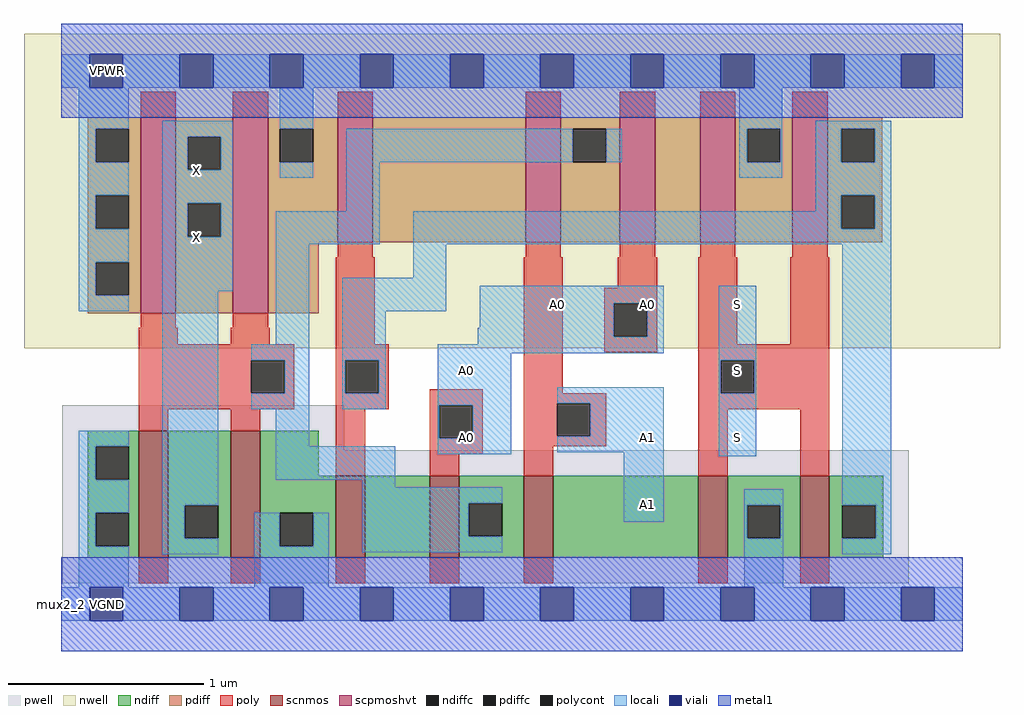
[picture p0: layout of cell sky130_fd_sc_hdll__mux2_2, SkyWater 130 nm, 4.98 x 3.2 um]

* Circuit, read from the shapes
.subckt sky130_fd_sc_hdll__mux2_2 A0 A1 S VGND VNB VPB VPWR X
XM1 X n1 VGND VNB sky130_fd_pr__nfet_01v8 w=0.65 l=0.15 m=2
XM2 n2 n3 VGND VNB sky130_fd_pr__nfet_01v8 w=0.42 l=0.15
XM3 n1 A0 n2 VNB sky130_fd_pr__nfet_01v8 w=0.42 l=0.15
XM4 n4 A1 n1 VNB sky130_fd_pr__nfet_01v8 w=0.42 l=0.15
XM5 VGND S n4 VNB sky130_fd_pr__nfet_01v8 w=0.42 l=0.15
XM6 n3 S VGND VNB sky130_fd_pr__nfet_01v8 w=0.42 l=0.15
XM7 X n1 VPWR VPB sky130_fd_pr__pfet_01v8_hvt w=1 l=0.18 m=2
XM8 n5 n3 VPWR VPB sky130_fd_pr__pfet_01v8_hvt w=0.64 l=0.18
XM9 n1 A1 n5 VPB sky130_fd_pr__pfet_01v8_hvt w=0.64 l=0.18
XM10 n6 A0 n1 VPB sky130_fd_pr__pfet_01v8_hvt w=0.64 l=0.18
XM11 VPWR S n6 VPB sky130_fd_pr__pfet_01v8_hvt w=0.64 l=0.18
XM12 n3 S VPWR VPB sky130_fd_pr__pfet_01v8_hvt w=0.64 l=0.18
.ends

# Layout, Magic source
magic
tech sky130A
magscale 1 2
<< nwell >>
rect -38 261 958 582
<< pwell >>
rect 1 157 289 203
rect 1 21 865 157
rect 30 -17 64 21
<< scnmos >>
rect 79 47 109 177
rect 173 47 203 177
rect 280 47 310 131
rect 376 47 406 131
rect 472 47 502 131
rect 650 47 680 131
rect 754 47 784 131
<< scpmoshvt >>
rect 81 297 117 497
rect 175 297 211 497
rect 282 369 318 497
rect 474 369 510 497
rect 570 369 606 497
rect 652 369 688 497
rect 746 369 782 497
<< ndiff >>
rect 27 161 79 177
rect 27 127 35 161
rect 69 127 79 161
rect 27 93 79 127
rect 27 59 35 93
rect 69 59 79 93
rect 27 47 79 59
rect 109 101 173 177
rect 109 67 126 101
rect 160 67 173 101
rect 109 47 173 67
rect 203 131 263 177
rect 203 93 280 131
rect 203 59 223 93
rect 257 59 280 93
rect 203 47 280 59
rect 310 47 376 131
rect 406 103 472 131
rect 406 69 416 103
rect 450 69 472 103
rect 406 47 472 69
rect 502 47 650 131
rect 680 101 754 131
rect 680 67 700 101
rect 734 67 754 101
rect 680 47 754 67
rect 784 101 839 131
rect 784 67 797 101
rect 831 67 839 101
rect 784 47 839 67
<< pdiff >>
rect 27 485 81 497
rect 27 451 35 485
rect 69 451 81 485
rect 27 417 81 451
rect 27 383 35 417
rect 69 383 81 417
rect 27 349 81 383
rect 27 315 35 349
rect 69 315 81 349
rect 27 297 81 315
rect 117 477 175 497
rect 117 443 129 477
rect 163 443 175 477
rect 117 409 175 443
rect 117 375 129 409
rect 163 375 175 409
rect 117 297 175 375
rect 211 485 282 497
rect 211 451 223 485
rect 257 451 282 485
rect 211 369 282 451
rect 318 369 474 497
rect 510 485 570 497
rect 510 451 522 485
rect 556 451 570 485
rect 510 369 570 451
rect 606 369 652 497
rect 688 485 746 497
rect 688 451 700 485
rect 734 451 746 485
rect 688 369 746 451
rect 782 485 838 497
rect 782 451 796 485
rect 830 451 838 485
rect 782 417 838 451
rect 782 383 796 417
rect 830 383 838 417
rect 782 369 838 383
rect 211 297 263 369
<< ndiffc >>
rect 35 127 69 161
rect 35 59 69 93
rect 126 67 160 101
rect 223 59 257 93
rect 416 69 450 103
rect 700 67 734 101
rect 797 67 831 101
<< pdiffc >>
rect 35 451 69 485
rect 35 383 69 417
rect 35 315 69 349
rect 129 443 163 477
rect 129 375 163 409
rect 223 451 257 485
rect 522 451 556 485
rect 700 451 734 485
rect 796 451 830 485
rect 796 383 830 417
<< poly >>
rect 81 497 117 523
rect 175 497 211 523
rect 282 497 318 523
rect 474 497 510 523
rect 570 497 606 523
rect 652 497 688 523
rect 746 497 782 523
rect 282 354 318 369
rect 474 354 510 369
rect 570 354 606 369
rect 652 354 688 369
rect 746 354 782 369
rect 81 282 117 297
rect 175 282 211 297
rect 79 265 119 282
rect 173 265 213 282
rect 280 265 320 354
rect 79 249 238 265
rect 79 215 194 249
rect 228 215 238 249
rect 79 199 238 215
rect 280 249 334 265
rect 280 215 290 249
rect 324 215 334 249
rect 280 199 334 215
rect 376 203 430 219
rect 79 177 109 199
rect 173 177 203 199
rect 280 131 310 199
rect 376 169 386 203
rect 420 169 430 203
rect 376 153 430 169
rect 472 215 512 354
rect 568 323 608 354
rect 554 307 608 323
rect 554 273 564 307
rect 598 273 608 307
rect 554 257 608 273
rect 650 265 690 354
rect 744 265 784 354
rect 650 249 784 265
rect 650 215 673 249
rect 707 215 784 249
rect 472 205 556 215
rect 472 171 506 205
rect 540 171 556 205
rect 472 161 556 171
rect 650 199 784 215
rect 376 131 406 153
rect 472 131 502 161
rect 650 131 680 199
rect 754 131 784 199
rect 79 21 109 47
rect 173 21 203 47
rect 280 21 310 47
rect 376 21 406 47
rect 472 21 502 47
rect 650 21 680 47
rect 754 21 784 47
<< polycont >>
rect 194 215 228 249
rect 290 215 324 249
rect 386 169 420 203
rect 564 273 598 307
rect 673 215 707 249
rect 506 171 540 205
<< locali >>
rect 0 527 29 561
rect 63 527 121 561
rect 155 527 213 561
rect 247 527 305 561
rect 339 527 397 561
rect 431 527 489 561
rect 523 527 581 561
rect 615 527 673 561
rect 707 527 765 561
rect 799 527 857 561
rect 891 527 920 561
rect 18 485 69 527
rect 18 451 35 485
rect 18 417 69 451
rect 18 383 35 417
rect 18 349 69 383
rect 18 315 35 349
rect 18 299 69 315
rect 103 477 175 493
rect 103 443 129 477
rect 163 443 175 477
rect 103 409 175 443
rect 223 485 257 527
rect 692 485 736 527
rect 223 435 257 451
rect 291 451 522 485
rect 556 451 572 485
rect 692 451 700 485
rect 734 451 736 485
rect 103 375 129 409
rect 163 375 175 409
rect 291 401 325 451
rect 692 435 736 451
rect 770 485 847 493
rect 770 451 796 485
rect 830 451 847 485
rect 770 417 847 451
rect 770 401 796 417
rect 103 319 175 375
rect 219 367 325 401
rect 359 383 796 401
rect 830 383 847 417
rect 359 367 847 383
rect 18 161 69 177
rect 18 127 35 161
rect 18 93 69 127
rect 18 59 35 93
rect 18 17 69 59
rect 103 101 160 319
rect 219 265 253 367
rect 359 333 393 367
rect 194 249 253 265
rect 228 215 253 249
rect 194 199 253 215
rect 287 299 393 333
rect 427 307 615 325
rect 287 249 331 299
rect 427 282 564 307
rect 425 273 564 282
rect 598 273 615 307
rect 425 265 615 273
rect 287 215 290 249
rect 324 215 331 249
rect 287 199 331 215
rect 384 256 615 265
rect 384 203 459 256
rect 671 249 709 325
rect 219 161 253 199
rect 384 169 386 203
rect 420 169 459 203
rect 219 127 341 161
rect 384 153 459 169
rect 506 205 615 221
rect 540 171 615 205
rect 506 155 615 171
rect 103 67 126 101
rect 307 119 341 127
rect 307 103 450 119
rect 103 51 160 67
rect 197 59 223 93
rect 257 59 273 93
rect 197 17 273 59
rect 307 69 416 103
rect 574 84 615 155
rect 671 215 673 249
rect 707 215 709 249
rect 671 151 709 215
rect 697 101 737 117
rect 307 53 450 69
rect 697 67 700 101
rect 734 67 737 101
rect 697 17 737 67
rect 797 101 847 367
rect 831 67 847 101
rect 797 51 847 67
rect 0 -17 29 17
rect 63 -17 121 17
rect 155 -17 213 17
rect 247 -17 305 17
rect 339 -17 397 17
rect 431 -17 489 17
rect 523 -17 581 17
rect 615 -17 673 17
rect 707 -17 765 17
rect 799 -17 857 17
rect 891 -17 920 17
<< viali >>
rect 29 527 63 561
rect 121 527 155 561
rect 213 527 247 561
rect 305 527 339 561
rect 397 527 431 561
rect 489 527 523 561
rect 581 527 615 561
rect 673 527 707 561
rect 765 527 799 561
rect 857 527 891 561
rect 29 -17 63 17
rect 121 -17 155 17
rect 213 -17 247 17
rect 305 -17 339 17
rect 397 -17 431 17
rect 489 -17 523 17
rect 581 -17 615 17
rect 673 -17 707 17
rect 765 -17 799 17
rect 857 -17 891 17
<< metal1 >>
rect 0 561 920 592
rect 0 527 29 561
rect 63 527 121 561
rect 155 527 213 561
rect 247 527 305 561
rect 339 527 397 561
rect 431 527 489 561
rect 523 527 581 561
rect 615 527 673 561
rect 707 527 765 561
rect 799 527 857 561
rect 891 527 920 561
rect 0 496 920 527
rect 0 17 920 48
rect 0 -17 29 17
rect 63 -17 121 17
rect 155 -17 213 17
rect 247 -17 305 17
rect 339 -17 397 17
rect 431 -17 489 17
rect 523 -17 581 17
rect 615 -17 673 17
rect 707 -17 765 17
rect 799 -17 857 17
rect 891 -17 920 17
rect 0 -48 920 -17
<< labels >>
flabel metal1 s 30 -17 64 17 0 FreeSans 200 0 0 0 VGND
port 4 nsew ground bidirectional
flabel metal1 s 30 527 64 561 0 FreeSans 200 0 0 0 VPWR
port 7 nsew power bidirectional
flabel locali s 581 153 615 187 0 FreeSans 200 0 0 0 A1
port 2 nsew signal input
flabel locali s 489 289 523 323 0 FreeSans 200 0 0 0 A0
port 1 nsew signal input
flabel locali s 397 221 431 255 0 FreeSans 200 0 0 0 A0
port 1 nsew signal input
flabel locali s 397 153 431 187 0 FreeSans 200 0 0 0 A0
port 1 nsew signal input
flabel locali s 673 153 707 187 0 FreeSans 200 0 0 0 S
port 3 nsew signal input
flabel locali s 581 85 615 119 0 FreeSans 200 0 0 0 A1
port 2 nsew signal input
flabel locali s 121 425 155 459 0 FreeSans 200 0 0 0 X
port 8 nsew signal output
flabel locali s 121 357 155 391 0 FreeSans 200 0 0 0 X
port 8 nsew signal output
flabel locali s 581 289 615 323 0 FreeSans 200 0 0 0 A0
port 1 nsew signal input
flabel locali s 673 289 707 323 0 FreeSans 200 0 0 0 S
port 3 nsew signal input
flabel locali s 673 221 707 255 0 FreeSans 200 0 0 0 S
port 3 nsew signal input
flabel nwell s 30 527 64 561 0 FreeSans 200 0 0 0 VPB
port 6 nsew power bidirectional
flabel pwell s 30 -17 64 17 0 FreeSans 200 0 0 0 VNB
port 5 nsew ground bidirectional
rlabel comment s 0 0 0 0 4 mux2_2
<< properties >>
string LEFsite unithd
string LEFclass CORE
string FIXED_BBOX 0 0 920 544
string GDS_FILE $PDKPATH/libs.ref/sky130_fd_sc_hdll/gds/sky130_fd_sc_hdll.gds
string LEFsymmetry X Y R90
string GDS_END 1074162
string GDS_START 1066748
string LEFproperties maskLayoutSubType "abstract" prCellType "standard" originalViewName "layout"
<< end >>
